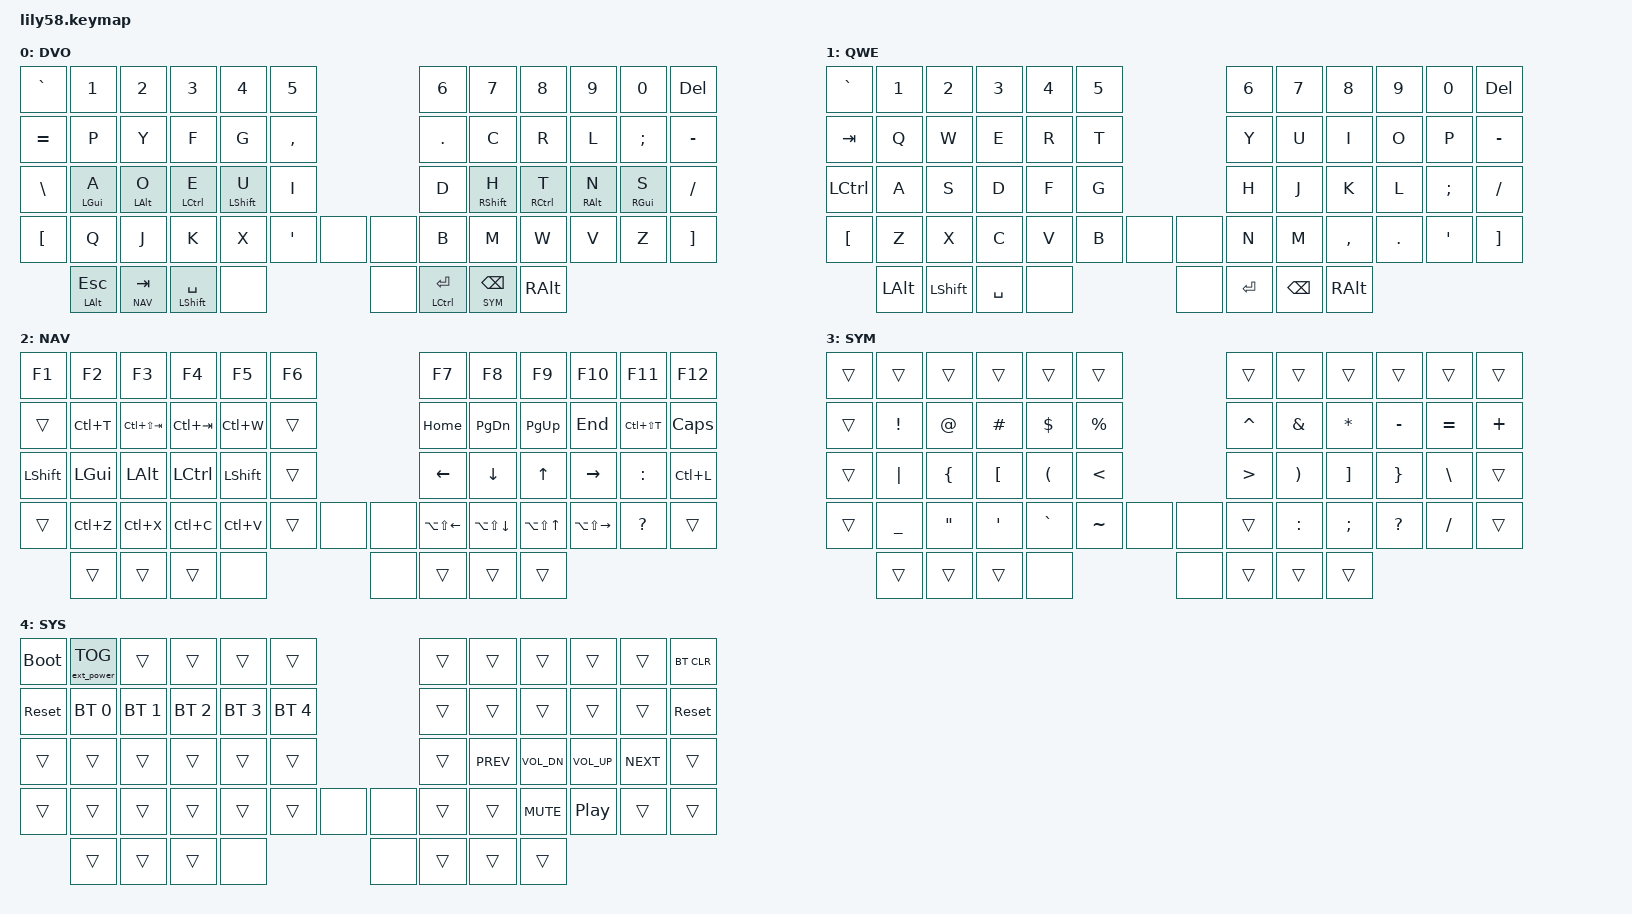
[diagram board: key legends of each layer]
#include <behaviors.dtsi>
#include <dt-bindings/zmk/ext_power.h>
#include <dt-bindings/zmk/keys.h>
#include <dt-bindings/zmk/bt.h>

// --- LAYER DEFINITIONS ---
#define DVO 0  // Dvorak (Base)
#define QWE 1  // QWERTY (Fallback/Gaming)
#define NAV 2  // Navigation (Vim Arrows + Hyprland)
#define SYM 3  // Symbols (Coding & Numbers)
#define BTL 4  // Bluetooth & System

// --- POSITIONAL HOLD KEY GROUPS (for "timeless" home-row mods) ---
// A left mod only triggers when a RIGHT key/thumb is pressed, and vice versa,
// so same-hand rolls can never misfire a modifier.
#define KEYS_L 0 1 2 3 4 5 12 13 14 15 16 17 24 25 26 27 28 29 36 37 38 39 40 41
#define KEYS_R 6 7 8 9 10 11 18 19 20 21 22 23 30 31 32 33 34 35 44 45 46 47 48 49
#define THUMBS 50 51 52 53 54 55 56 57

/ {
    // ==============================================================
    // COMBOS (2-Button Logic)
    // ==============================================================
    combos {
        compatible = "zmk,combos";

        // Press the two INNER top-row keys together (positions 17+18 = ',' + '.'
        // on Dvorak, where QWERTY 'T' + 'Y' sit) to toggle the QWERTY layer.
        combo_toggle_qwerty {
            timeout-ms = <50>;
            key-positions = <17 18>;
            bindings = <&tog QWE>;
        };

        // Press the two OUTERMOST thumb keys together (positions 50+57 = the left
        // Esc/Alt thumb + the right Alt thumb) to reach the Bluetooth/System layer.
        combo_bt_layer {
            timeout-ms = <50>;
            key-positions = <50 57>;
            bindings = <&mo BTL>;
        };
    };

    // ==============================================================
    // BEHAVIORS (Home Row Mods & Layer Taps)
    // ==============================================================
    behaviors {
        // hml: Left-hand home-row mod. Only fires as a modifier if a RIGHT-side
        // key or thumb follows (positional hold) -> no same-hand-roll misfires.
        hml: home_row_mod_left {
            compatible = "zmk,behavior-hold-tap";
            label = "HRM_LEFT";
            #binding-cells = <2>;
            tapping-term-ms = <280>;
            quick-tap-ms = <175>;
            require-prior-idle-ms = <150>;
            flavor = "balanced";
            hold-trigger-key-positions = <KEYS_R THUMBS>;
            hold-trigger-on-release; // allows chaining cross-hand mods (e.g. Ctrl+Shift)
            bindings = <&kp>, <&kp>;
        };

        // hmr: Right-hand home-row mod. Mirror of hml (triggers on LEFT keys/thumbs).
        hmr: home_row_mod_right {
            compatible = "zmk,behavior-hold-tap";
            label = "HRM_RIGHT";
            #binding-cells = <2>;
            tapping-term-ms = <280>;
            quick-tap-ms = <175>;
            require-prior-idle-ms = <150>;
            flavor = "balanced";
            hold-trigger-key-positions = <KEYS_L THUMBS>;
            hold-trigger-on-release;
            bindings = <&kp>, <&kp>;
        };

        // lt_th: Hold for Layer, Tap for Key (Thumb Optimized)
        lt_th: layer_tap_thumb {
            compatible = "zmk,behavior-hold-tap";
            label = "LAYER_TAP_THUMB";
            #binding-cells = <2>;
            tapping-term-ms = <200>;
            quick-tap-ms = <200>;
            require-prior-idle-ms = <125>;
            flavor = "hold-preferred"; 
            bindings = <&mo>, <&kp>;
        };
    };

    // ==============================================================
    // KEYMAP (The Padded 58-Key Grid)
    // ==============================================================
    keymap {
        compatible = "zmk,keymap";

        // 0: DVORAK (Base with perfectly aligned Homerow Mods)
        default_layer {
            display-name = "DVO";
            bindings = <
            &kp GRAVE    &kp N1     &kp N2     &kp N3      &kp N4      &kp N5                      &kp N6  &kp N7      &kp N8      &kp N9     &kp N0     &kp DEL
            &kp EQUAL    &kp P      &kp Y      &kp F       &kp G       &kp COMMA                   &kp DOT &kp C       &kp R       &kp L      &kp SEMI   &kp MINUS 
            &kp BSLH     &hml LGUI A &hml LALT O &hml LCTRL E &hml LSHFT U &kp I                    &kp D   &hmr RSHFT H &hmr RCTRL T &hmr RALT N &hmr RGUI S &kp FSLH
            &kp LBKT     &kp Q      &kp J      &kp K       &kp X       &kp SQT     &none     &none &kp B   &kp M       &kp W       &kp V      &kp Z      &kp RBKT
                        &mt LALT ESC &lt_th NAV TAB &mt LSHFT SPACE &none       &none &mt LCTRL RET &lt_th SYM BSPC &kp RALT
            >;
        };

        // 1: QWERTY (No Homerow mods to prevent gaming lag/misfires)
        qwerty_layer {
            display-name = "QWE";
            bindings = <
            &kp GRAVE &kp N1  &kp N2  &kp N3  &kp N4  &kp N5                      &kp N6  &kp N7  &kp N8  &kp N9  &kp N0   &kp DEL
            &kp TAB   &kp Q   &kp W   &kp E   &kp R   &kp T                       &kp Y   &kp U   &kp I   &kp O   &kp P    &kp MINUS 
            &kp LCTRL &kp A   &kp S   &kp D   &kp F   &kp G                       &kp H   &kp J   &kp K   &kp L   &kp SEMI &kp FSLH 
            &kp LBKT  &kp Z   &kp X   &kp C   &kp V   &kp B       &none     &none &kp N   &kp M   &kp COMMA &kp DOT &kp SQT &kp RBKT
                                &kp LALT  &kp LSHFT   &kp SPACE    &none     &none &kp RET &kp BSPC &kp RALT
            >;
        };

        // 2: NAVIGATION
        nav_layer {
            display-name = "NAV";
            bindings = <
            &kp F1     &kp F2       &kp F3          &kp F4      &kp F5     &kp F6             &kp F7    &kp F8    &kp F9    &kp F10   &kp F11   &kp F12
            // Browser/tab cluster. Left row 1 wraps the two tab-cycle keys with
            // new (C-t) and close (C-w); reopen-closed (C-S-t) and the address
            // bar (C-l, on row 2) sit on the right. These are plain keycodes, so
            // they fire in any app, not just the browser.
            // CAPS on the right pinky is the layout switch (kb_options=grp:caps_toggle
            // makes it ISO_Next_Group). Shift+CAPS still gives real Caps Lock, and NAV
            // binds Shift as a plain &kp at 24/28, so that chord stays cross-hand.
            &trans     &kp LC(T)    &kp LC(LS(TAB)) &kp LC(TAB) &kp LC(W)  &trans             &kp HOME  &kp PG_DN &kp PG_UP &kp END   &kp LC(LS(T)) &kp CAPS
            // Shift is bound twice on purpose: the outer column keeps the old pinky
            // position, and index-finger 'U' now matches where Shift lives on DVO.
            // Leaving 'U' as &trans made it fall through to &hml LSHFT U, whose
            // require-prior-idle-ms forced a tap mid-chord (Alt+Shift+arrow misfired).
            &kp LSHFT  &kp LGUI     &kp LALT        &kp LCTRL   &kp LSHFT  &trans             &kp LEFT  &kp DOWN  &kp UP    &kp RIGHT &kp COLON &kp LC(L)
            // Right bottom row = window management, sitting directly under the
            // arrows: same finger, one row down, moves the window instead of the
            // cursor. Each key emits the whole Alt+Shift+arrow chord on its own
            // (Hyprland's `swapwindow`), so it's just NAV thumb + one finger.
            &trans     &kp LC(Z)    &kp LC(X)       &kp LC(C)   &kp LC(V)  &trans     &none &none &kp LA(LS(LEFT)) &kp LA(LS(DOWN)) &kp LA(LS(UP)) &kp LA(LS(RIGHT)) &kp QMARK &trans
                                                &trans       &trans       &trans      &none &none &trans    &trans    &trans
            >;
        };

        // 3: SYMBOLS
        sym_layer {
            display-name = "SYM";
            label = "SYM";
            bindings = <
            &trans    &trans    &trans    &trans    &trans    &trans                      &trans    &trans    &trans    &trans    &trans    &trans
            &trans    &kp EXCL  &kp AT    &kp HASH  &kp DLLR  &kp PRCNT                   &kp CARET &kp AMPS  &kp ASTRK &kp MINUS &kp EQUAL &kp PLUS
            &trans    &kp PIPE  &kp LBRC  &kp LBKT  &kp LPAR  &kp LT                      &kp GT    &kp RPAR  &kp RBKT  &kp RBRC  &kp BSLH  &trans
            &trans    &kp UNDER &kp DQT   &kp SQT   &kp GRAVE &kp TILDE     &none   &none &trans    &kp COLON &kp SEMI  &kp QMARK &kp FSLH  &trans
                                                &trans    &trans    &trans        &none   &none &trans    &trans    &trans
            >;
        };

        // 4: BLUETOOTH
        btl_layer {
            display-name = "SYS";
            bindings = <
            &bootloader  &ext_power EP_TOG &trans       &trans       &trans       &trans              &trans   &trans     &trans       &trans       &trans     &bt BT_CLR
            &sys_reset   &bt BT_SEL 0      &bt BT_SEL 1 &bt BT_SEL 2 &bt BT_SEL 3 &bt BT_SEL 4        &trans   &trans     &trans       &trans       &trans     &sys_reset
            &trans       &trans            &trans       &trans       &trans       &trans              &trans   &kp C_PREV &kp C_VOL_DN &kp C_VOL_UP &kp C_NEXT &trans
            &trans       &trans            &trans       &trans       &trans       &trans        &none &none &trans   &trans     &kp C_MUTE   &kp C_PP     &trans     &trans
                                                       &trans       &trans       &trans         &none &none &trans   &trans     &trans
            >;
        };

    };
};
